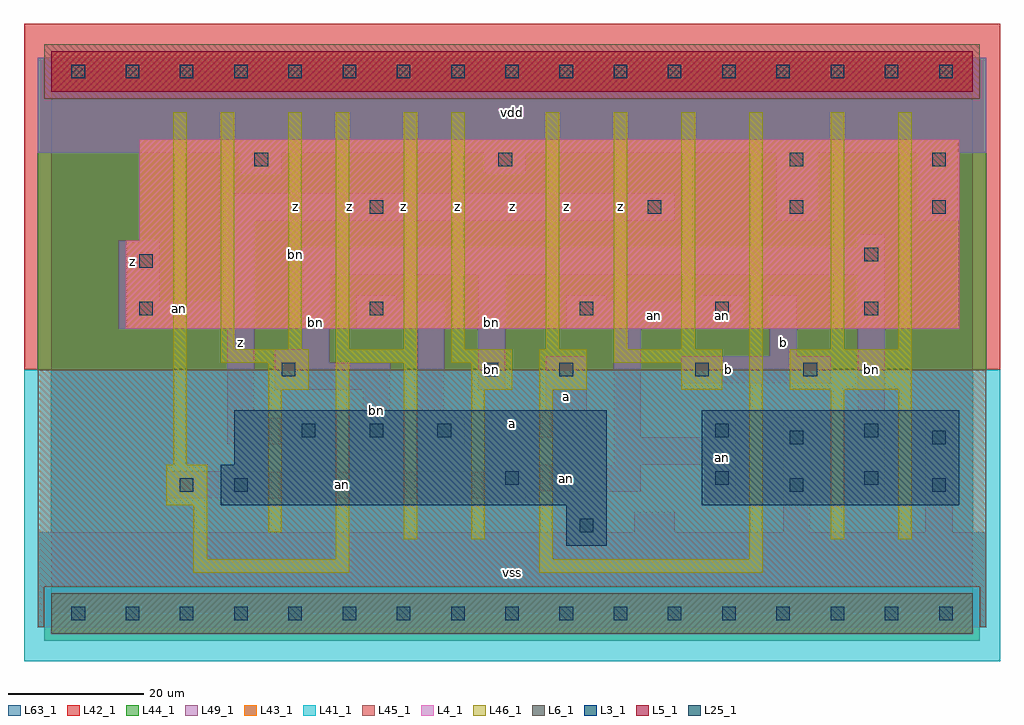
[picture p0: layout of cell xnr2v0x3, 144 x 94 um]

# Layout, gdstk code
import gdstk
lib = gdstk.Library(unit=1e-6, precision=1e-09)
def R(c, l, rs):  # rectangles x0, y0, x1, y1
    for r in rs: c.add(gdstk.rectangle(r[:2], r[2:], *l))
def A(c, l, x, y, w, h, nx, ny, dx, dy):  # array of equal rectangles
    R(c, l, [(x+i*dx, y+j*dy, x+i*dx+w, y+j*dy+h) for i in range(nx) for j in range(ny)])
L3_1 = (3, 1)
L4_1 = (4, 1)
L5_1 = (5, 1)
L6_1 = (6, 1)
L25_1 = (25, 1)
L41_1 = (41, 1)
L42_1 = (42, 1)
L43_1 = (43, 1)
L44_1 = (44, 1)
L45_1 = (45, 1)
L46_1 = (46, 1)
L49_1 = (49, 1)
L63_1 = (63, 1)

xnr2v0x3 = lib.new_cell('xnr2v0x3')
R(xnr2v0x3, L3_1, [(76,10,82,16), (25,16,82,22), (96,16,134,30), (27,22,82,30)])
R(xnr2v0x3, L4_1, [(11,42,134,55), (13,55,134,70)])
R(xnr2v0x3, L5_1, [(0,77,136,83)])
R(xnr2v0x3, L6_1, [(0,-3,136,3), (0,-3,136,3)])
A(xnr2v0x3, L25_1, 3, -1, 2, 2, 17, 2, 8, 80)
A(xnr2v0x3, L25_1, 37, 26, 2, 2, 3, 1, 10, 0)
A(xnr2v0x3, L25_1, 88, 59, 2, 2, 3, 1, 21, 0)
R(xnr2v0x3, L25_1, [(78,12,80,14), (19,18,21,20), (27,18,29,20), (109,18,111,20), (130,18,132,20), (67,19,69,21), (98,19,100,21), (120,19,122,21), (109,25,111,27), (130,25,132,27), (98,26,100,28), (120,26,122,28), (34,35,36,37), (64,35,66,37), (75,35,77,37), (95,35,97,37), (111,35,113,37), (13,44,15,46), (47,44,49,46), (78,44,80,46), (98,44,100,46), (120,44,122,46), (13,51,15,53), (120,52,122,54), (47,59,49,61), (30,66,32,68), (66,66,68,68), (109,66,111,68), (130,66,132,68)])
R(xnr2v0x3, L41_1, [(-4,-7,140,36)])
R(xnr2v0x3, L42_1, [(-4,36,140,87)])
R(xnr2v0x3, L43_1, [(0,-3,136,3), (76,10,82,16), (25,16,82,22), (96,16,134,30), (27,22,82,30), (11,42,134,55), (13,55,134,70), (0,77,136,83)])
R(xnr2v0x3, L44_1, [(-1,-4,137,4), (-2,36,138,76), (-2,76,-1,82), (137,76,138,82)])
R(xnr2v0x3, L45_1, [(-2,-2,-1,4), (137,-2,138,4), (-2,4,138,36), (-1,76,137,84)])
A(xnr2v0x3, L46_1, 73, 39, 2, 35, 3, 1, 10, 0)
R(xnr2v0x3, L46_1, [(21,6,44,8), (72,6,105,8), (21,8,23,16), (42,8,44,37), (72,8,74,33), (103,8,105,74), (52,11,54,37), (62,11,64,33), (115,11,117,33), (125,11,127,33), (32,12,34,33), (17,16,23,22), (18,22,20,74), (32,33,38,37), (62,33,68,37), (72,33,79,39), (93,33,99,37), (109,33,127,39), (25,37,38,39), (42,37,54,39), (59,37,68,39), (83,37,99,39), (25,39,27,74), (35,39,37,74), (42,39,44,74), (52,39,54,74), (59,39,61,74), (115,39,117,74), (125,39,127,74)])
R(xnr2v0x3, L49_1, [(-2,-2,138,12), (76,12,82,15), (86,12,92,15), (108,12,112,29), (129,12,133,29), (17,17,70,18), (97,17,101,22), (119,17,123,50), (17,18,87,21), (65,21,87,22), (83,22,101,26), (46,24,50,33), (26,25,41,29), (54,25,61,29), (65,26,79,30), (83,26,87,42), (97,26,101,30), (26,29,30,42), (54,29,58,42), (73,30,79,38), (33,33,50,37), (63,33,67,50), (93,34,115,38), (33,37,41,39), (106,38,110,47), (37,39,41,50), (10,42,30,46), (45,42,58,46), (76,42,102,46), (10,46,16,55), (26,46,30,58), (45,46,51,47), (76,46,82,47), (96,46,102,47), (37,50,123,54), (119,54,123,56), (26,58,92,62), (107,58,113,68), (128,58,134,68), (28,65,34,68), (64,65,70,68), (-2,68,138,82)])
R(xnr2v0x3, L63_1, [(0,0,136,80)])
xnr2v0x3.add(gdstk.Label('an', (19,45), layer=46, texttype=1))
xnr2v0x3.add(gdstk.Label('bn', (36,53), layer=46, texttype=1))
xnr2v0x3.add(gdstk.Label('bn', (65,36), layer=49, texttype=1))
xnr2v0x3.add(gdstk.Label('z', (20,44), layer=49, texttype=1))
xnr2v0x3.add(gdstk.Label('z', (12,52), layer=49, texttype=1))
xnr2v0x3.add(gdstk.Label('bn', (48,30), layer=49, texttype=1))
xnr2v0x3.add(gdstk.Label('z', (28,40), layer=49, texttype=1))
xnr2v0x3.add(gdstk.Label('bn', (39,43), layer=49, texttype=1))
xnr2v0x3.add(gdstk.Label('z', (36,60), layer=49, texttype=1))
xnr2v0x3.add(gdstk.Label('z', (44,60), layer=49, texttype=1))
xnr2v0x3.add(gdstk.Label('vss', (68,6), layer=49, texttype=1))
xnr2v0x3.add(gdstk.Label('an', (43,19), layer=49, texttype=1))
xnr2v0x3.add(gdstk.Label('a', (68,28), layer=49, texttype=1))
xnr2v0x3.add(gdstk.Label('a', (76,32), layer=49, texttype=1))
xnr2v0x3.add(gdstk.Label('bn', (65,43), layer=49, texttype=1))
xnr2v0x3.add(gdstk.Label('z', (52,60), layer=49, texttype=1))
xnr2v0x3.add(gdstk.Label('z', (68,60), layer=49, texttype=1))
xnr2v0x3.add(gdstk.Label('z', (76,60), layer=49, texttype=1))
xnr2v0x3.add(gdstk.Label('z', (60,60), layer=49, texttype=1))
xnr2v0x3.add(gdstk.Label('vdd', (68,74), layer=49, texttype=1))
xnr2v0x3.add(gdstk.Label('an', (76,20), layer=49, texttype=1))
xnr2v0x3.add(gdstk.Label('an', (99,23), layer=49, texttype=1))
xnr2v0x3.add(gdstk.Label('an', (89,44), layer=49, texttype=1))
xnr2v0x3.add(gdstk.Label('an', (99,44), layer=49, texttype=1))
xnr2v0x3.add(gdstk.Label('b', (108,40), layer=49, texttype=1))
xnr2v0x3.add(gdstk.Label('b', (100,36), layer=49, texttype=1))
xnr2v0x3.add(gdstk.Label('z', (84,60), layer=49, texttype=1))
xnr2v0x3.add(gdstk.Label('bn', (121,36), layer=49, texttype=1))

lib.write_gds('xnr2v0x3.gds')
